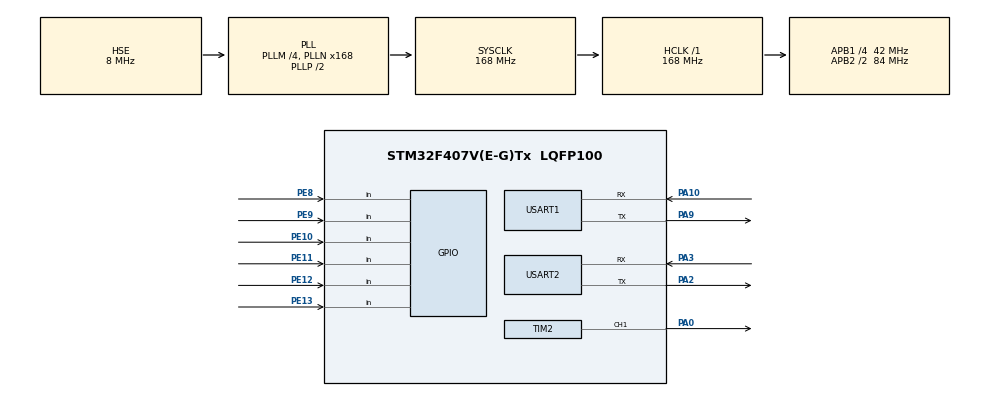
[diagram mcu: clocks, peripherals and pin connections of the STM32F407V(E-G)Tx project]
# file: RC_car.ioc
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Mcu.Family=STM32F4
Mcu.Name=STM32F407V(E-G)Tx
Mcu.Package=LQFP100
NVIC.PriorityGroup=NVIC_PRIORITYGROUP_4
PA0-WKUP.Signal=S_TIM2_CH1_ETR
PA10.Mode=Asynchronous
PA10.Signal=USART1_RX
PA2.Mode=Asynchronous
PA2.Signal=USART2_TX
PA3.Mode=Asynchronous
PA3.Signal=USART2_RX
PA9.Mode=Asynchronous
PA9.Signal=USART1_TX
PE10.Signal=GPIO_Input
PE11.Signal=GPIO_Input
PE12.Signal=GPIO_Input
PE13.Signal=GPIO_Input
PE8.Signal=GPIO_Input
PE9.Signal=GPIO_Input
PH0-OSC_IN.Mode=HSE-External-Oscillator
PH0-OSC_IN.Signal=RCC_OSC_IN
PH1-OSC_OUT.Mode=HSE-External-Oscillator
PH1-OSC_OUT.Signal=RCC_OSC_OUT
ProjectManager.HeapSize=0x200
ProjectManager.StackSize=0x400
ProjectManager.TargetToolchain=MDK-ARM V5.27
RCC.48MHZClocksFreq_Value=84000000
RCC.AHBFreq_Value=168000000
RCC.APB1CLKDivider=RCC_HCLK_DIV4
RCC.APB1Freq_Value=42000000
RCC.APB1TimFreq_Value=84000000
RCC.APB2CLKDivider=RCC_HCLK_DIV2
RCC.APB2Freq_Value=84000000
RCC.APB2TimFreq_Value=168000000
RCC.CortexFreq_Value=168000000
RCC.HCLKFreq_Value=168000000
RCC.HSE_VALUE=8000000
RCC.HSI_VALUE=16000000
RCC.LSE_VALUE=32768
RCC.PLLM=4
RCC.PLLN=168
RCC.PLLSourceVirtual=RCC_PLLSOURCE_HSE
RCC.SYSCLKFreq_VALUE=168000000
RCC.SYSCLKSource=RCC_SYSCLKSOURCE_PLLCLK
RCC.VCOOutputFreq_Value=336000000
SH.S_TIM2_CH1_ETR.0=TIM2_CH1,PWM Generation1 CH1
TIM2.Channel-PWM\ Generation1\ CH1=TIM_CHANNEL_1
TIM2.Period=1000-1
TIM2.Prescaler=168-1
USART1.VirtualMode=VM_ASYNC
USART2.VirtualMode=VM_ASYNC
VP_TIM2_VS_ClockSourceINT.Mode=Internal
board=custom

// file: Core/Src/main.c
/* USER CODE BEGIN Header */
/**
  ******************************************************************************
  * @file           : main.c
  * @brief          : Main program body
  ******************************************************************************
  * @attention
  *
  * <h2><center>&copy; Copyright (c) 2020 STMicroelectronics.
  * All rights reserved.</center></h2>
  *
  * This software component is licensed by ST under BSD 3-Clause license,
  * the "License"; You may not use this file except in compliance with the
  * License. You may obtain a copy of the License at:
  *                        opensource.org/licenses/BSD-3-Clause
  *
  ******************************************************************************
  */
/* USER CODE END Header */
#include "main.h"
#include "tim.h"
#include "usart.h"
#include "gpio.h"

/* USER CODE BEGIN Includes */
#include "printf.h"
/* USER CODE END Includes */

void SystemClock_Config(void);

int main(void)
{
  /* USER CODE BEGIN 1 */
printf("1111 1110\r\n");
  /* USER CODE END 1 */

  /* MCU Configuration--------------------------------------------------------*/

  /* Reset of all peripherals, Initializes the Flash interface and the Systick. */
  HAL_Init();

  /* Configure the system clock */
  SystemClock_Config();

  /* Initialize all configured peripherals */
  MX_GPIO_Init();
  MX_TIM2_Init();
  MX_USART1_UART_Init();
  MX_USART2_UART_Init();
  /* USER CODE BEGIN 2 */
Set_Data(0x01,0x01);		//串口通信设置传感器参数
  /* USER CODE END 2 */

  /* Infinite loop */
  /* USER CODE BEGIN WHILE */
  while (1)
  {
	  switch(Read_Data1())
	{                                         //8765 4321
		case 0xFE:		printf("1111 1110\r\n");	break;      //1111 1110
		case 0xFC:		printf("1111 1100\r\n");	break;      //1111 1100
		case 0xFD:		printf("1111 1101\r\n");break;      //1111 1101
		case 0xF9:		printf("1111 1001\r\n");	break;      //1111 1001
		case 0xFB:		printf("1111 1011\r\n");	break;      //1111 1011
		case 0xF3:		printf("1111 0011\r\n");	break;      //1111 0011
		case 0xF7:		printf("1111 0111\r\n");	break;      //1111 0111
		case 0xE7:		printf("1110 0111\r\n");	break;      //1110 0111		//正中间位置
		case 0xEF:		printf("1110 1111\r\n");	break;      //1110 1111
		case 0xCF:		printf("1100 1111\r\n");	break;      //1100 1111
		case 0xDF:		printf("1101 1111\r\n");	break;      //1101 1111
		case 0x9F:		printf("1001 1111\r\n");	break;      //1001 1111
		case 0xBF:		printf("1011 1111\r\n");	break;      //1011 1111
		case 0x3F:		printf("0011 1111\r\n");	break;      //0011 1111
		case 0x7F:		printf("0111 1111\r\n");	break;      //0111 1111

		default :		printf("1111 1100\r\n");		break;
	}

    /* USER CODE END WHILE */

  }
}

void SystemClock_Config(void)
{
  RCC_OscInitTypeDef RCC_OscInitStruct = {0};
  RCC_ClkInitTypeDef RCC_ClkInitStruct = {0};

  /** Configure the main internal regulator output voltage
  */
  __HAL_RCC_PWR_CLK_ENABLE();
  __HAL_PWR_VOLTAGESCALING_CONFIG(PWR_REGULATOR_VOLTAGE_SCALE1);
  /** Initializes the RCC Oscillators according to the specified parameters
  * in the RCC_OscInitTypeDef structure.
  */
  RCC_OscInitStruct.OscillatorType = RCC_OSCILLATORTYPE_HSE;
  RCC_OscInitStruct.HSEState = RCC_HSE_ON;
  RCC_OscInitStruct.PLL.PLLState = RCC_PLL_ON;
  RCC_OscInitStruct.PLL.PLLSource = RCC_PLLSOURCE_HSE;
  RCC_OscInitStruct.PLL.PLLM = 4;
  RCC_OscInitStruct.PLL.PLLN = 168;
  RCC_OscInitStruct.PLL.PLLP = RCC_PLLP_DIV2;
  RCC_OscInitStruct.PLL.PLLQ = 4;
  if (HAL_RCC_OscConfig(&RCC_OscInitStruct) != HAL_OK)
  {
    Error_Handler();
  }
  /** Initializes the CPU, AHB and APB buses clocks
  */
  RCC_ClkInitStruct.ClockType = RCC_CLOCKTYPE_HCLK|RCC_CLOCKTYPE_SYSCLK
                              |RCC_CLOCKTYPE_PCLK1|RCC_CLOCKTYPE_PCLK2;
  RCC_ClkInitStruct.SYSCLKSource = RCC_SYSCLKSOURCE_PLLCLK;
  RCC_ClkInitStruct.AHBCLKDivider = RCC_SYSCLK_DIV1;
  RCC_ClkInitStruct.APB1CLKDivider = RCC_HCLK_DIV4;
  RCC_ClkInitStruct.APB2CLKDivider = RCC_HCLK_DIV2;

  if (HAL_RCC_ClockConfig(&RCC_ClkInitStruct, FLASH_LATENCY_5) != HAL_OK)
  {
    Error_Handler();
  }
}

void Error_Handler(void)
{
}

/************************ (C) COPYRIGHT STMicroelectronics *****END OF FILE****/
